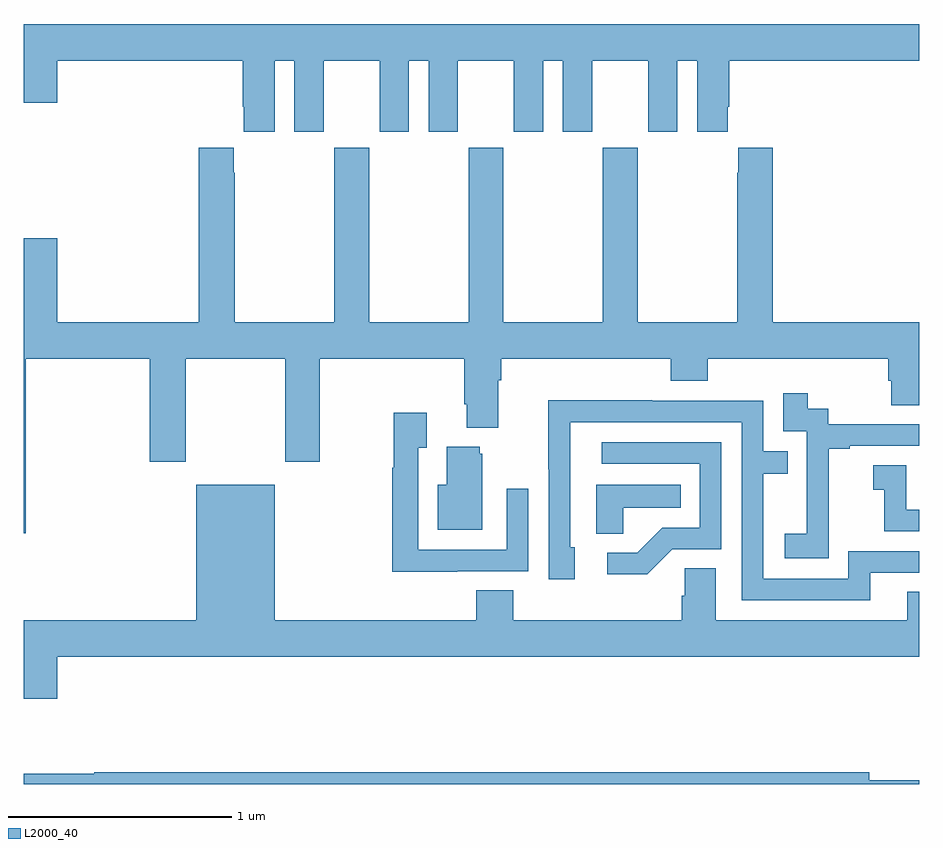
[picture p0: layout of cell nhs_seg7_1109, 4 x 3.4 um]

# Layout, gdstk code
import gdstk
lib = gdstk.Library(unit=1e-6, precision=1e-09)
def P(c, l, *ps):  # polygons
    for p in ps: c.add(gdstk.Polygon(p, *l))
L2000_40 = (2000, 40)

nhs_seg7_1109 = lib.new_cell('nhs_seg7_1109')
P(nhs_seg7_1109, L2000_40, [(190.12,1051.232),(190.208,1051.232),(190.208,1050.915),(190.339,1050.915),(190.339,1051.232),(190.589,1051.232),(190.589,1050.915),(190.72,1050.915),(190.72,1051.232),(190.808,1051.232),(190.808,1050.915),(190.939,1050.915),(190.939,1051.232),(191.189,1051.232),(191.189,1050.915),(191.32,1050.915),(191.32,1051.232),(191.408,1051.232),(191.408,1050.915),(191.539,1050.915),(191.539,1051.232),(191.789,1051.232),(191.789,1050.915),(191.92,1050.915),(191.92,1051.232),(192.008,1051.232),(192.008,1050.915),(192.145,1050.915),(192.145,1051.027),(192.152,1051.027),(192.152,1051.232),(193,1051.232),(193,1051.396),(189,1051.396),(189,1051.044),(189.148,1051.044),(189.148,1051.232),(189.977,1051.232),(189.977,1051.027),(189.983,1051.027),(189.983,1050.915),(190.12,1050.915)],
  [(189.008,1049.9),(189.563,1049.9),(189.563,1049.439),(189.723,1049.439),(189.723,1049.9),(190.168,1049.9),(190.168,1049.439),(190.323,1049.439),(190.323,1049.9),(190.967,1049.9),(190.967,1049.698),(190.979,1049.698),(190.979,1049.591),(191.119,1049.591),(191.119,1049.804),(191.132,1049.804),(191.132,1049.9),(191.891,1049.9),(191.891,1049.801),(192.056,1049.801),(192.056,1049.9),(192.863,1049.9),(192.863,1049.802),(192.875,1049.802),(192.875,1049.692),(193,1049.692),(193,1050.064),(192.347,1050.064),(192.347,1050.844),(192.191,1050.844),(192.191,1050.731),(192.187,1050.731),(192.187,1050.064),(191.742,1050.064),(191.742,1050.844),(191.587,1050.844),(191.587,1050.064),(191.142,1050.064),(191.142,1050.844),(190.987,1050.844),(190.987,1050.064),(190.542,1050.064),(190.542,1050.844),(190.387,1050.844),(190.387,1050.064),(189.942,1050.064),(189.942,1050.731),(189.937,1050.731),(189.937,1050.844),(189.782,1050.844),(189.782,1050.064),(189.148,1050.064),(189.148,1050.439),(189,1050.439),(189,1049.121),(189.008,1049.121)],
  [(192.597,1049.215),(192.596,1049.215),(192.596,1049.499),(192.691,1049.499),(192.691,1049.511),(193,1049.511),(193,1049.607),(192.594,1049.607),(192.594,1049.676),(192.502,1049.676),(192.502,1049.746),(192.393,1049.746),(192.393,1049.577),(192.498,1049.577),(192.498,1049.348),(192.497,1049.348),(192.497,1049.119),(192.399,1049.119),(192.399,1049.009),(192.597,1049.009)],
  [(192.781,1048.944),(193,1048.944),(193,1049.04),(192.684,1049.04),(192.684,1048.917),(192.303,1048.917),(192.303,1049.386),(192.413,1049.386),(192.413,1049.487),(192.303,1049.487),(192.303,1049.712),(191.807,1049.712),(191.807,1049.714),(191.344,1049.714),(191.344,1049.407),(191.346,1049.407),(191.346,1048.914),(191.461,1048.914),(191.461,1049.058),(191.442,1049.058),(191.442,1049.616),(192.207,1049.616),(192.207,1048.821),(192.781,1048.821)],
  [(190.937,1048.95),(191.253,1048.95),(191.253,1049.32),(191.157,1049.32),(191.157,1049.046),(190.761,1049.046),(190.761,1049.503),(190.801,1049.503),(190.801,1049.659),(190.653,1049.659),(190.653,1049.414),(190.645,1049.414),(190.645,1048.949),(190.937,1048.949)],
  [(191.898,1049.049),(192.117,1049.049),(192.117,1049.526),(191.583,1049.526),(191.583,1049.43),(192.021,1049.43),(192.021,1049.145),(191.852,1049.145),(191.741,1049.034),(191.607,1049.034),(191.607,1048.937),(191.785,1048.937)],
  [(191.047,1049.475),(191.036,1049.475),(191.036,1049.506),(190.889,1049.506),(190.889,1049.338),(190.85,1049.338),(190.85,1049.135),(191.047,1049.135)],
  [(193,1049.226),(192.942,1049.226),(192.942,1049.425),(192.795,1049.425),(192.795,1049.315),(192.844,1049.315),(192.844,1049.13),(193,1049.13)],
  [(191.679,1049.234),(191.936,1049.234),(191.936,1049.338),(191.558,1049.338),(191.558,1049.119),(191.679,1049.119)],
  [(189.148,1048.568),(193,1048.568),(193,1048.859),(192.947,1048.859),(192.947,1048.732),(192.091,1048.732),(192.091,1048.964),(191.952,1048.964),(191.952,1048.841),(191.939,1048.841),(191.939,1048.732),(191.186,1048.732),(191.186,1048.865),(191.021,1048.865),(191.021,1048.732),(190.12,1048.732),(190.12,1049.338),(189.77,1049.338),(189.77,1048.732),(189,1048.732),(189,1048.38),(189.148,1048.38)],
  [(193,1048.016),(192.778,1048.016),(192.778,1048.052),(189.315,1048.052),(189.315,1048.045),(189,1048.045),(189,1048),(193,1048)])

lib.write_gds('nhs_seg7_1109.gds')
